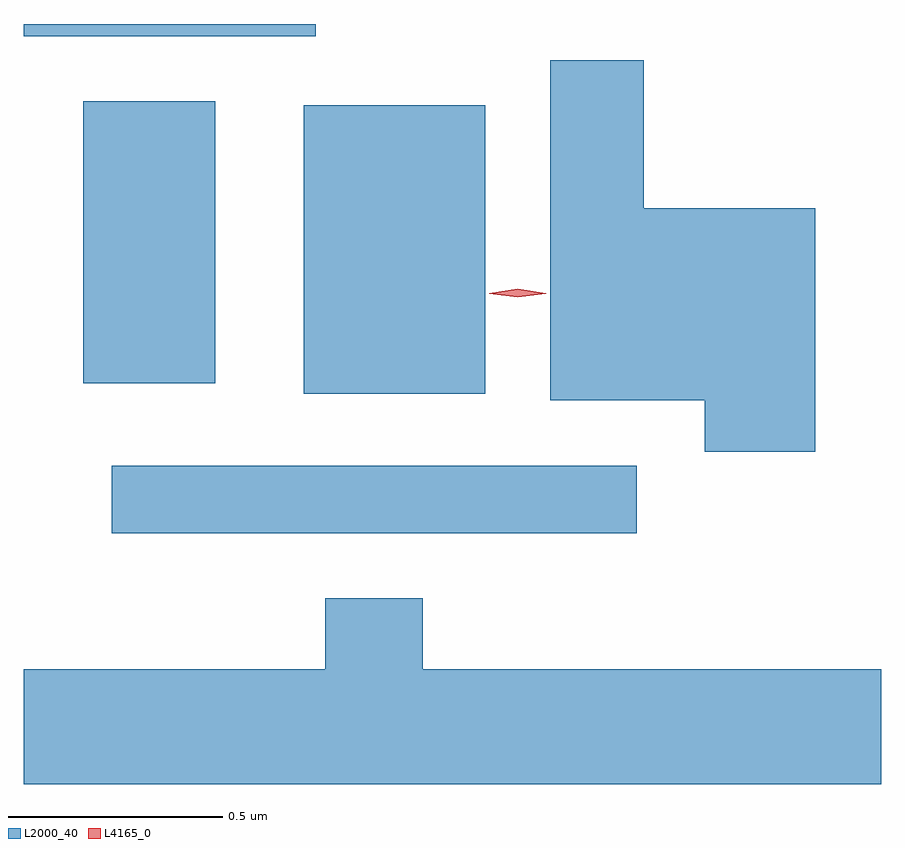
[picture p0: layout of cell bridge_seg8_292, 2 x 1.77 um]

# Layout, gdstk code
import gdstk
lib = gdstk.Library(unit=1e-6, precision=1e-09)
def R(c, l, rs):  # rectangles x0, y0, x1, y1
    for r in rs: c.add(gdstk.rectangle(r[:2], r[2:], *l))
def P(c, l, *ps):  # polygons
    for p in ps: c.add(gdstk.Polygon(p, *l))
L2000_40 = (2000, 40)
L4165_0 = (4165, 0)

bridge_seg8_292 = lib.new_cell('bridge_seg8_292')
R(bridge_seg8_292, L2000_40, [(1363.103,1837.001,1364.328,1837.159), (1363.551,1837.326,1363.974,1837.999), (1363.036,1837.351,1363.344,1838.009), (1362.898,1838.161,1363.579,1838.189)])
P(bridge_seg8_292, L2000_40, [(1364.744,1837.759),(1364.344,1837.759),(1364.344,1838.104),(1364.126,1838.104),(1364.126,1837.311),(1364.486,1837.311),(1364.486,1837.191),(1364.744,1837.191)],
  [(1364.898,1836.684),(1363.829,1836.684),(1363.829,1836.849),(1363.601,1836.849),(1363.601,1836.684),(1362.898,1836.684),(1362.898,1836.416),(1364.898,1836.416)])
P(bridge_seg8_292, L4165_0, [(1364.05,1837.551),(1363.984,1837.56),(1363.984,1837.561),(1363.984,1837.561),(1364.05,1837.571),(1364.116,1837.561),(1364.117,1837.561),(1364.116,1837.56)])

lib.write_gds('bridge_seg8_292.gds')
